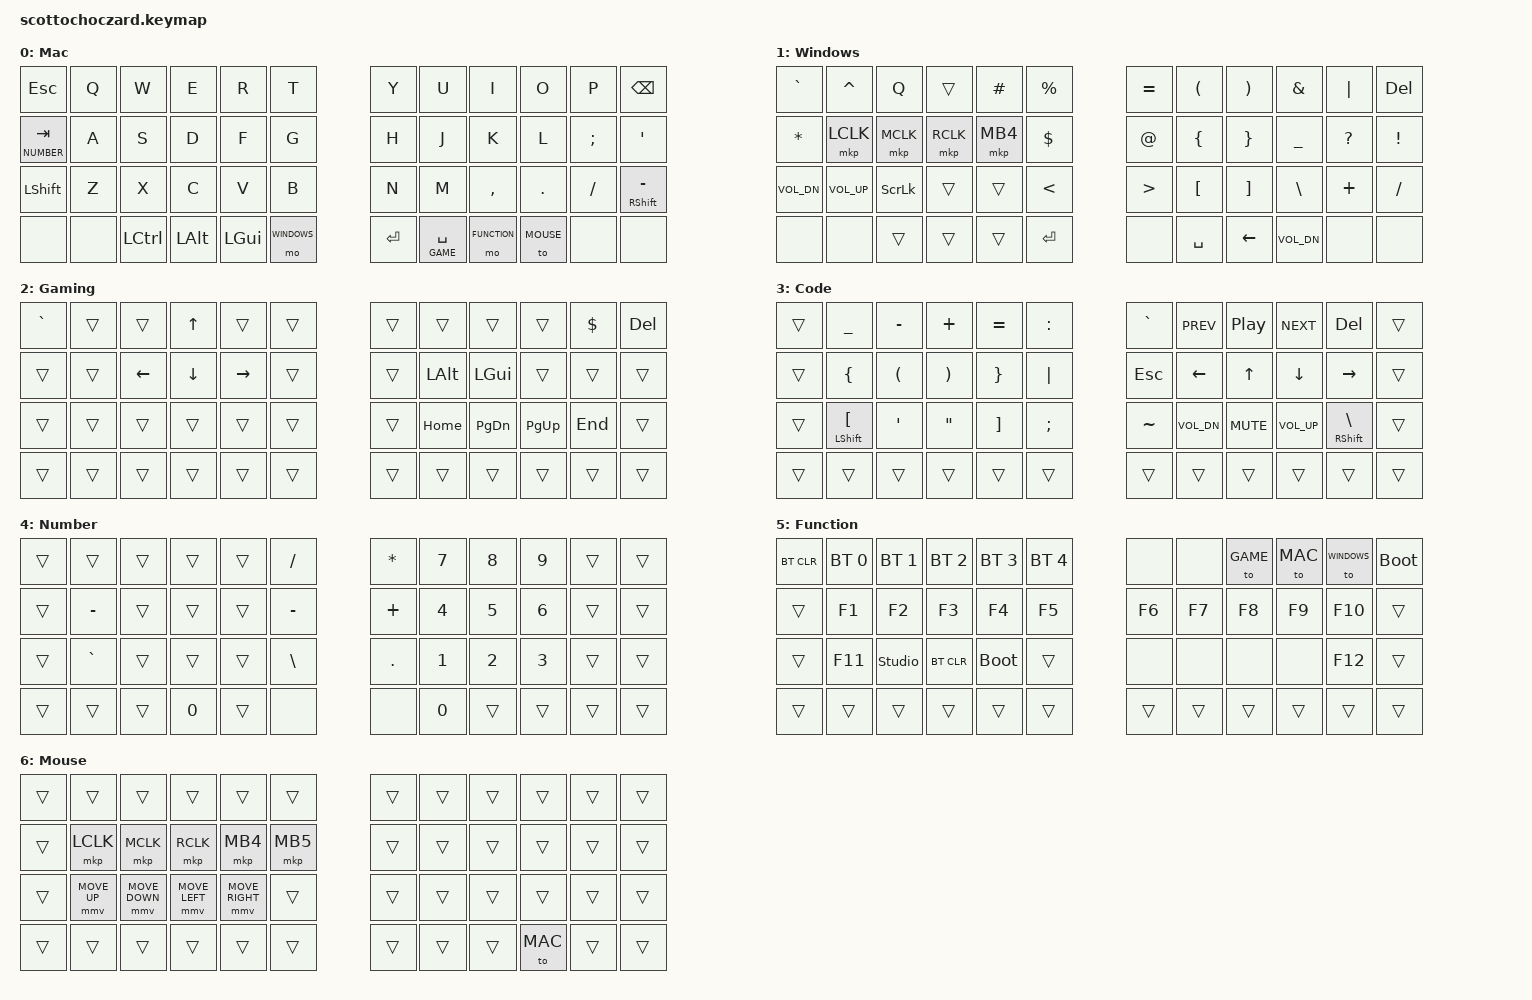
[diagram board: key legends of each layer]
#include <behaviors.dtsi>
#include <dt-bindings/zmk/keys.h>
#include <dt-bindings/zmk/bt.h>
#include <dt-bindings/zmk/mouse.h>
#include <dt-bindings/zmk/outputs.h>

#define MAC 0
#define WINDOWS 1
#define GAME 2
#define CODE 3
#define NUMBER 4
#define FUNCTION 5
#define MOUSE 6

/ {
    macros {
        spotlight: spotlight {
            compatible = "zmk,behavior-macro";
            #binding-cells = <0>;
            bindings = <&macro_press &kp LGUI>, <&macro_tap &kp SPACE>, <&macro_release &kp LGUI>; 
        };

        // Emoji
        mac_emoji: mac_emoji {
            compatible = "zmk,behavior-macro";
            #binding-cells = <0>;
            bindings = <&macro_press &kp LGUI>, <&macro_press &kp LCTRL>, <&macro_tap &kp SPACE>, <&macro_release &kp LCTRL>, <&macro_release &kp LGUI>; 
        };

        windows_emoji: windows_emoji {
            compatible = "zmk,behavior-macro";
            #binding-cells = <0>;
            bindings = <&macro_press &kp LGUI>, <&macro_tap &kp DOT>, <&macro_release &kp LGUI>; 
        };
    };

    behaviors {
        bm: bottom_row_mods {
            compatible = "zmk,behavior-hold-tap";
            #binding-cells = <2>;
            tapping-term-ms = <135>;
            quick-tap-ms = <0>;
            flavor = "tap-preferred";
            bindings = <&kp>, <&kp>;
        };

        cm: code_row_mods {
            compatible = "zmk,behavior-hold-tap";
            #binding-cells = <2>;
            tapping-term-ms = <200>;
            quick-tap-ms = <0>;
            flavor = "tap-preferred";
            bindings = <&kp>, <&kp>;
            retro-tap;
        };

        sm: space_mod {
            compatible = "zmk,behavior-hold-tap";
            #binding-cells = <2>;
            flavor = "balanced";
            tapping-term-ms = <200>;
            quick-tap-ms = <125>;
            bindings = <&kp>, <&kp>;
        };

        td_multi_mac: tap_dance_multi_mac {
            compatible = "zmk,behavior-tap-dance";
            #binding-cells = <0>;
            tapping-term-ms = <200>;
            bindings = <&sm ESC LALT>, <&spotlight>, <&kp LCTRL>, <&mac_emoji>;
        };

        td_multi_windows: tap_dance_multi_windows {
            compatible = "zmk,behavior-tap-dance";
            #binding-cells = <0>;
            tapping-term-ms = <200>;
            bindings = <&sm ESC LALT>, <&kp LGUI>, <&windows_emoji>;
        };

        mouse_move_layer: mouse_move_layer {
            compatible = "zmk,behavior-hold-tap";
            #binding-cells = <2>;
            tapping-term-ms = <200>;
            quick-tap-ms = <0>;
            flavor = "balanced";
            bindings = <&mo>, <&mmv>;
        };

        mouse_buttons: mouse_buttons {
            compatible = "zmk,behavior-hold-tap";
            #binding-cells = <2>;
            tapping-term-ms = <200>;
            quick-tap-ms = <0>;
            flavor = "balanced";
            bindings = <&mo>, <&mkp>;
        };
    };
    
    keymap {
        compatible = "zmk,keymap";

        mac_default_layer {
            display-name = "Mac";
            bindings = <
                &kp ESC           &kp Q      &kp W      &kp E       &kp R          &kp T          &kp Y            &kp U          &kp I       &kp O      &kp P         &kp BKSP
                &lt NUMBER TAB    &kp A      &kp S      &kp D       &kp F          &kp G          &kp H            &kp J          &kp K       &kp L      &kp SEMI      &kp QUOT
                &kp LSHFT         &kp Z      &kp X      &kp C       &kp V          &kp B          &kp N            &kp M         &kp COMMA    &kp DOT    &kp FSLH      &mt RSHIFT MINUS
                &none             &none      &kp LCTRL  &kp LALT    &kp LGUI       &mo WINDOWS    &kp RET          &lt GAME SPACE &mo FUNCTION &to MOUSE  &none         &none
            >;
        };

        windows_default_layer {
            display-name = "Windows";
            bindings = <
                &kp GRAVE    &kp CARET   &kp Q          &trans   &kp HASH   &kp PRCNT     &kp EQUAL          &kp LPAR      &kp RPAR    &kp AMPS    &kp PIPE        &kp DEL
                &kp ASTRK    &mkp LCLK   &mkp MCLK      &mkp RCLK &mkp MB4  &kp DLLR      &kp AT             &kp LBRC      &kp RBRC    &kp UNDER   &kp QMARK      &kp EXCL
                &kp C_VOL_DN &kp C_VOL_UP &kp SCROLLLOCK &trans   &trans     &kp LT        &kp GT             &kp LBKT      &kp RBKT    &kp BSLH    &kp PLUS       &kp FSLH
                &none        &none        &trans          &trans  &trans     &kp RET       &none              &kp SPACE     &kp LEFT    &kp C_VOL_DN &none         &none
            >;
        };

        game_layer {
            display-name = "Gaming";
            bindings = <
                &kp GRAVE    &trans      &trans    &kp UP    &trans        &trans         &trans          &trans         &trans       &trans    &kp DOLLAR        &kp DEL
                &trans       &trans      &kp LEFT   &kp DOWN  &kp RIGHT     &trans         &trans          &kp LALT       &kp LGUI     &trans    &trans           &trans
                &trans       &trans      &trans     &trans    &trans        &trans         &trans          &kp HOME       &kp PG_DN    &kp PG_UP &kp END           &trans
                &trans       &trans      &trans     &trans    &trans        &trans         &trans          &trans         &trans       &trans    &trans           &trans
            >;
        };

        code_layer {
            display-name = "Code";
            bindings = <
                &trans &kp UNDER      &kp MINUS &kp PLUS &kp EQUAL &kp COLON &kp GRAVE &kp C_PREV   &kp C_PP   &kp C_NEXT   &kp DEL        &trans
                &trans &kp LBRC       &kp LPAR  &kp RPAR &kp RBRC  &kp PIPE  &kp ESC   &kp LEFT     &kp UP     &kp DOWN     &kp RIGHT      &trans
                &trans &cm LSHFT LBKT &kp APOS  &kp DQT  &kp RBKT  &kp SEMI  &kp TILDE &kp C_VOL_DN &kp C_MUTE &kp C_VOL_UP &cm RSHFT BSLH &trans
                &trans &trans         &trans    &trans   &trans    &trans    &trans    &trans       &trans     &trans       &trans         &trans
            >;
        };

        number_layer {
            display-name = "Number";
            bindings = < 
                &trans       &trans     &trans    &trans       &trans        &kp FSLH      &kp ASTRK         &kp N7        &kp N8       &kp N9       &trans        &trans
                &trans      &kp MINUS   &trans     &trans      &trans       &kp MINUS      &kp PLUS         &kp N4        &kp N5       &kp N6       &trans         &trans
                &trans       &kp GRAVE   &trans     &trans      &trans       &kp BSLH        &kp DOT            &kp N1         &kp N2       &kp N3      &trans         &trans
                &trans       &trans      &trans     &kp N0      &trans         &none          &none        &kp N0          &trans      &trans       &trans          &trans
            >;
        };

        function_layer {
            display-name = "Function";
            bindings = <
                &bt BT_CLR  &bt BT_SEL 0 &bt BT_SEL 1   &bt BT_SEL 2 &bt BT_SEL 3 &bt BT_SEL 4  &none  &none  &to GAME  &to MAC  &to WINDOWS &bootloader
                &trans      &kp F1       &kp F2         &kp F3       &kp F4       &kp F5        &kp F6  &kp F7 &kp F8 &kp F9        &kp F10     &trans
                &trans      &kp F11      &studio_unlock &bt BT_CLR   &bootloader  &trans        &none  &none  &none  &none         &kp F12     &trans
                &trans      &trans       &trans         &trans       &trans       &trans        &trans &trans &trans &trans        &trans      &trans
            >;
        };

        mouse_layer {
            display-name = "Mouse";
            bindings = <
                &trans      &trans       &trans         &trans       &trans       &trans        &trans  &trans  &trans  &trans       &trans      &trans
                &trans      &mkp LCLK    &mkp MCLK      &mkp RCLK    &mkp MB4     &mkp MB5      &trans  &trans  &trans  &trans       &trans      &trans
                &trans      &mmv MOVE_UP &mmv MOVE_DOWN &mmv MOVE_LEFT &mmv MOVE_RIGHT &trans  &trans  &trans  &trans  &trans       &trans      &trans
                &trans      &trans       &trans         &trans       &trans       &trans        &trans  &trans  &trans  &to MAC      &trans      &trans
            >;
        };
    };
};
